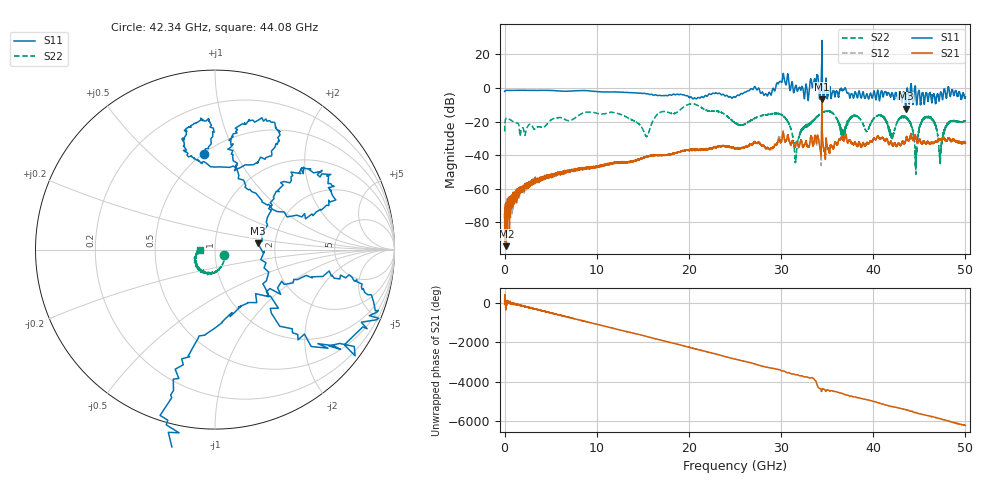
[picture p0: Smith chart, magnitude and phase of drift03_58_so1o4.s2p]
!Created with skrf (http://scikit-rf.org).
# Hz S RI R 50.0
!freq ReS11 ImS11 ReS21 ImS21 ReS12 ImS12 ReS22 ImS22
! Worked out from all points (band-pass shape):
!   10000 points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, 5.3 MHz to 50 GHz, reference 50 ohm
!   highest |S21| = -6.71 dB at 34.43 GHz (marker M1); lowest = -94.3 dB at 195.3 MHz (marker M2)
!   |S21| within 3 dB of the highest: 34.42731 GHz to 34.43482 GHz (7.508 MHz wide, 0.0218 % of centre)
!   lowest |S11| = -12.4 dB at 43.52 GHz (marker M3), VSWR 1.64, Z = 81.1 + j5.92 ohm
!   |S11| at or under -10 dB: 43.49146 GHz to 43.54382 GHz (52.36 MHz wide, 0.12 % of centre); 44.70444 GHz to 44.70672 GHz (2.288 MHz wide, 0.00512 % of centre)
!   |S22| runs from -51.4 to -9.4 dB; largest |S21 - S12| = 0.13
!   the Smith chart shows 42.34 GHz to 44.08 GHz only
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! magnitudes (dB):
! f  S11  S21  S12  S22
! 5.3 MHz  -2.1  -75.4  -87.4  -25.9
! 195.3 MHz  -1.4  -94.3  -76.1  -18.1
! 2.43 GHz  -1.4  -58.5  -58.5  -23.7
! 8.34 GHz  -1.5  -47.9  -47.9  -15.3
! 15.39 GHz  -3.5  -40.8  -40.9  -28.8
! 16.67 GHz  -4.4  -40.2  -40.2  -15.3
! 20.45 GHz  -6.5  -36.4  -36.7  -9.5
! 25.01 GHz  -5.5  -35.9  -36.1  -20.7
! 29.95 GHz  3.9  -32.7  -32.2  -15.6
! 31.59 GHz  1.4  -33.7  -33.9  -43.8
! 33.34 GHz  2.6  -30.1  -30.6  -20.1
! 34.43 GHz  28.4  -6.7  -8.6  -14.5
! 36.7 GHz  -1.4  -29.9  -29.8  -28.8
! 37.98 GHz  -3.0  -32.4  -32.3  -16.7
! 41.67 GHz  -2.9  -33.5  -33.4  -23.4
! 43.52 GHz  -12.4  -31.6  -31.5  -17.6
! 44.61 GHz  -1.6  -29.2  -29.2  -47.0
! 45.65 GHz  -4.8  -32.7  -32.9  -17.3
! 46.6 GHz  -3.8  -32.4  -32.5  -20.4
! 47.27 GHz  -3.3  -30.9  -30.6  -45.1
! 48.17 GHz  0.5  -30.0  -29.9  -20.8
! 50 GHz  -5.3  -32.8  -32.7  -19.5
